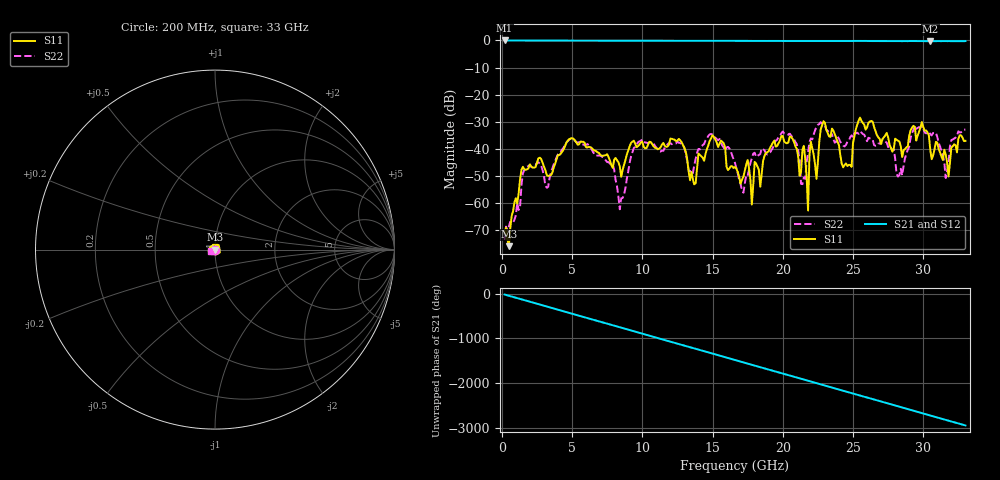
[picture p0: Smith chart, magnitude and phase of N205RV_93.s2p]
# GHZ S RI R 50
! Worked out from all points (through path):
!   329 points, 200 MHz to 33 GHz, reference 50 ohm
!   highest |S21| = -0.02 dB at 200 MHz (marker M1); lowest = -0.3 dB at 30.5 GHz (marker M2)
!   group delay of S21, straight-line fit = 248 ps
!   lowest |S11| = -75.9 dB at 500 MHz (marker M3), VSWR 1.00, Z = 50 + j0.00932 ohm
!   |S11| at or under -10 dB: start of sweep to end of sweep
!   |S22| runs from -73.7 to -30.2 dB; largest |S21 - S12| = 0.0019
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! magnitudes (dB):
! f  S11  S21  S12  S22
! 200 MHz  -71.3  0.0  0.0  -73.7
! 500 MHz  -75.9  0.0  0.0  -68.8
! 1.5 GHz  -46.6  -0.1  -0.1  -49.1
! 5.7 GHz  -37.4  -0.1  -0.1  -38.2
! 8.4 GHz  -46.5  -0.1  -0.1  -62.3
! 9.4 GHz  -37.0  -0.1  -0.1  -39.6
! 11.2 GHz  -39.9  -0.2  -0.2  -40.9
! 16.6 GHz  -46.7  -0.2  -0.2  -45.2
! 17.5 GHz  -44.1  -0.2  -0.2  -50.0
! 17.8 GHz  -60.5  -0.2  -0.2  -43.5
! 18 GHz  -44.8  -0.2  -0.2  -41.4
! 20.6 GHz  -35.6  -0.2  -0.2  -35.1
! 21.2 GHz  -49.9  -0.2  -0.2  -44.4
! 21.5 GHz  -38.9  -0.2  -0.2  -50.5
! 21.8 GHz  -62.7  -0.2  -0.2  -41.3
! 21.9 GHz  -42.3  -0.2  -0.2  -37.5
! 22.1 GHz  -39.8  -0.2  -0.2  -36.5
! 27.6 GHz  -38.4  -0.2  -0.2  -38.8
! 28.5 GHz  -43.0  -0.3  -0.3  -49.8
! 30.5 GHz  -40.3  -0.3  -0.3  -34.6
! 31.6 GHz  -42.2  -0.3  -0.3  -50.8
! 33 GHz  -37.1  -0.2  -0.2  -32.9
